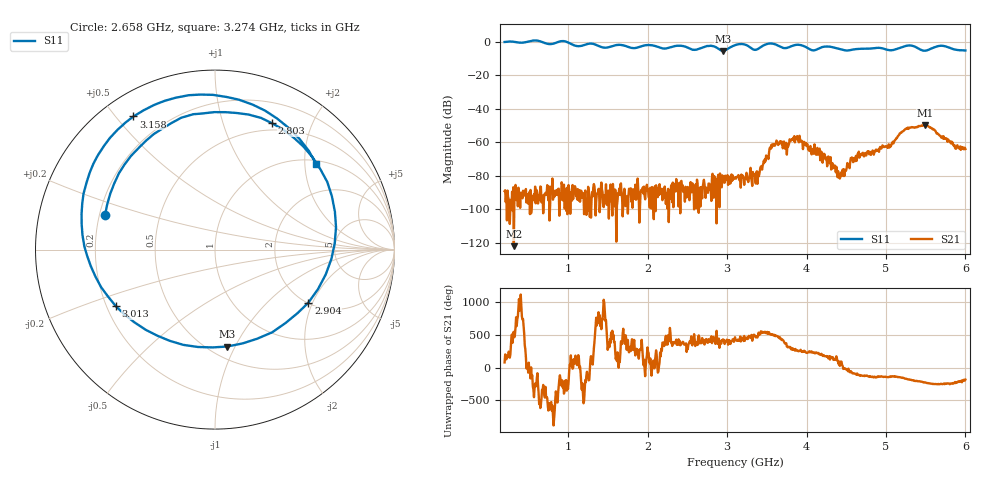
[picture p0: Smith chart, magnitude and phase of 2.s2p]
! NanoVNA-App
! Date: 2024-06-25 16:03:55
! Start: 200MHz Stop: 6GHz Points: 801
! S-Parameter data: F S11 S21 S12 S22
# Hz S RI R 50
!  Frequency  S11_Real  S11_Imag  S21_Real  S21_Imag  S12_Real  S12_Imag  S22_Real  S22_Imag
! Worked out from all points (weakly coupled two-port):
!   801 points, 200 MHz to 6 GHz, reference 50 ohm
!   highest |S21| = -49.64 dB at 5.492 GHz (marker M1); lowest = -122.2 dB at 316 MHz (marker M2)
!   lowest |S11| = -5.3 dB at 2.948 GHz (marker M3), VSWR 3.39, Z = 30.4 - j46.6 ohm
!   |S11| at or under -10 dB: nowhere
!   S12 and S22 are empty: the file has one direction only
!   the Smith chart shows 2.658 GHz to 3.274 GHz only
!   S11 on the Smith chart (normalised r, x): 2.658 GHz: 0.22, +0.14; 2.803 GHz: 0.42, +1.46; 2.904 GHz: 2.02, -1.86; 3.013 GHz: 0.24, -0.25; 3.158 GHz: 0.09, +0.56; 3.274 GHz: 1.08, +2.28
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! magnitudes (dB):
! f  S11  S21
! 200 MHz  0.0  -89.3
! 316 MHz  0.2  -122.2
! 1.171 GHz  -2.2  -89.8
! 2.136 GHz  -3.0  -87.2
! 2.658 GHz  -3.9  -87.1
! 2.803 GHz  -2.2  -95.1
! 2.904 GHz  -4.5  -98.9
! 2.948 GHz  -5.3  -81.3
! 3.013 GHz  -3.9  -85.5
! 3.1 GHz  -1.9  -81.6
! 3.158 GHz  -1.2  -82.8
! 3.274 GHz  -2.6  -81.8
! 3.383 GHz  -4.3  -84.9
! 3.6 GHz  -1.2  -62.1
! 3.89 GHz  -1.6  -57.8
! 4.072 GHz  -4.9  -65.0
! 4.42 GHz  -4.2  -81.7
! 4.673 GHz  -4.0  -68.3
! 5.036 GHz  -4.8  -61.2
! 5.246 GHz  -2.4  -52.0
! 5.492 GHz  -5.2  -49.6
! 6 GHz  -5.0  -64.0
